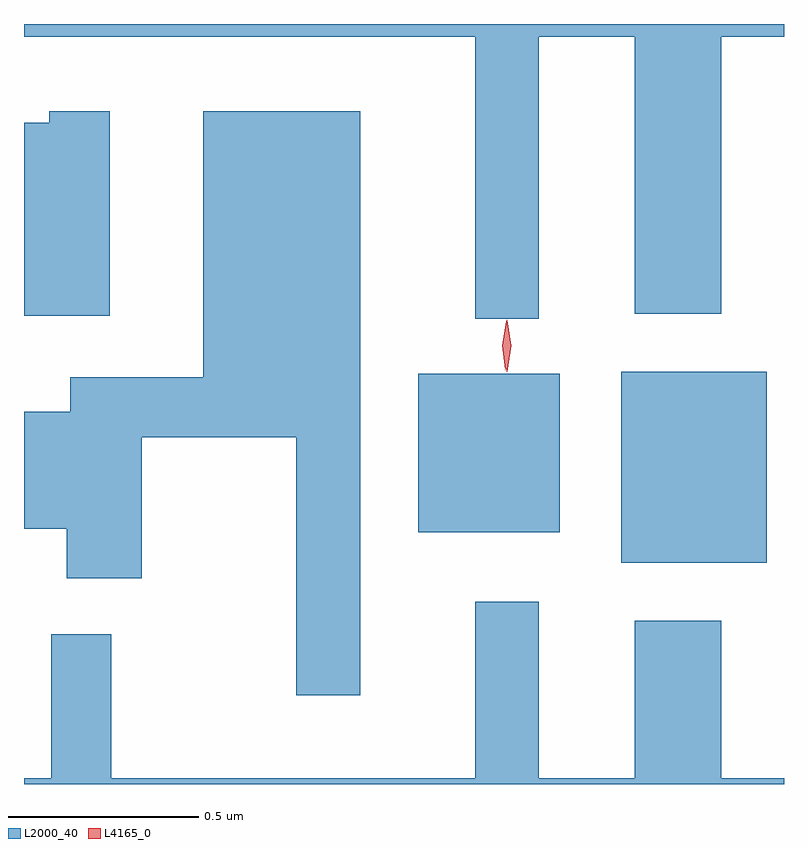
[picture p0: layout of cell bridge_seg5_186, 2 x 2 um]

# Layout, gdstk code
import gdstk
lib = gdstk.Library(unit=1e-6, precision=1e-09)
def R(c, l, rs):  # rectangles x0, y0, x1, y1
    for r in rs: c.add(gdstk.rectangle(r[:2], r[2:], *l))
def P(c, l, *ps):  # polygons
    for p in ps: c.add(gdstk.Polygon(p, *l))
L2000_40 = (2000, 40)
L4165_0 = (4165, 0)

bridge_seg5_186 = lib.new_cell('bridge_seg5_186')
R(bridge_seg5_186, L2000_40, [(1258.686,1402.131,1259.069,1402.634), (1258.151,1402.211,1258.524,1402.629)])
P(bridge_seg5_186, L2000_40, [(1258.469,1403.516),(1258.721,1403.516),(1258.721,1402.786),(1258.949,1402.786),(1258.949,1403.516),(1259.114,1403.516),(1259.114,1403.549),(1257.114,1403.549),(1257.114,1403.516),(1258.301,1403.516),(1258.301,1402.773),(1258.469,1402.773)],
  [(1257.999,1403.319),(1257.586,1403.319),(1257.586,1402.619),(1257.236,1402.619),(1257.236,1402.529),(1257.114,1402.529),(1257.114,1402.221),(1257.226,1402.221),(1257.226,1402.091),(1257.424,1402.091),(1257.424,1402.461),(1257.831,1402.461),(1257.831,1401.783),(1257.999,1401.783)],
  [(1257.339,1403.319),(1257.181,1403.319),(1257.181,1403.289),(1257.114,1403.289),(1257.114,1402.781),(1257.339,1402.781)],
  [(1259.114,1401.564),(1258.949,1401.564),(1258.949,1401.979),(1258.721,1401.979),(1258.721,1401.564),(1258.469,1401.564),(1258.469,1402.028),(1258.301,1402.028),(1258.301,1401.564),(1257.344,1401.564),(1257.344,1401.943),(1257.186,1401.943),(1257.186,1401.564),(1257.114,1401.564),(1257.114,1401.549),(1259.114,1401.549)])
P(bridge_seg5_186, L4165_0, [(1258.38,1402.638),(1258.38,1402.639),(1258.372,1402.703),(1258.383,1402.766),(1258.383,1402.767),(1258.384,1402.766),(1258.392,1402.702),(1258.381,1402.639)],
  [(1258.385,1402.634),(1258.376,1402.702),(1258.385,1402.77),(1258.386,1402.77),(1258.386,1402.77),(1258.396,1402.702),(1258.386,1402.634),(1258.386,1402.634)])

lib.write_gds('bridge_seg5_186.gds')
